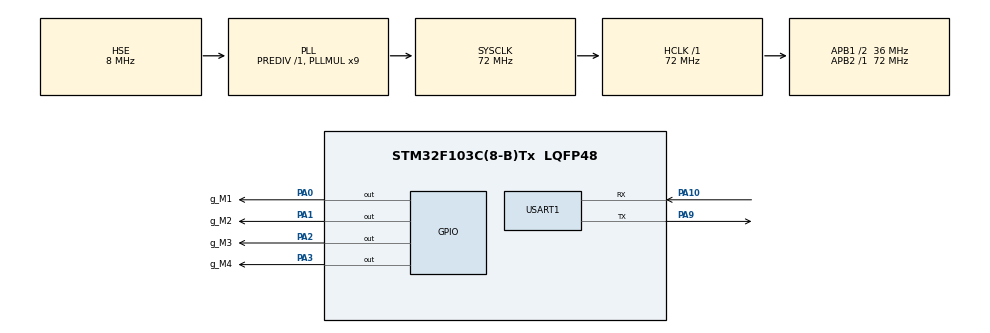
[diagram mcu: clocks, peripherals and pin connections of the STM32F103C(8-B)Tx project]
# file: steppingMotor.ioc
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Dma.Request0=USART1_RX
Dma.Request1=USART1_TX
Dma.USART1_RX.0.Direction=DMA_PERIPH_TO_MEMORY
Dma.USART1_RX.0.Instance=DMA1_Channel5
Dma.USART1_RX.0.MemDataAlignment=DMA_MDATAALIGN_BYTE
Dma.USART1_RX.0.MemInc=DMA_MINC_ENABLE
Dma.USART1_RX.0.Mode=DMA_NORMAL
Dma.USART1_RX.0.PeriphDataAlignment=DMA_PDATAALIGN_BYTE
Dma.USART1_RX.0.PeriphInc=DMA_PINC_DISABLE
Dma.USART1_RX.0.Priority=DMA_PRIORITY_LOW
Dma.USART1_TX.1.Direction=DMA_MEMORY_TO_PERIPH
Dma.USART1_TX.1.Instance=DMA1_Channel4
Dma.USART1_TX.1.MemDataAlignment=DMA_MDATAALIGN_BYTE
Dma.USART1_TX.1.MemInc=DMA_MINC_ENABLE
Dma.USART1_TX.1.Mode=DMA_NORMAL
Dma.USART1_TX.1.PeriphDataAlignment=DMA_PDATAALIGN_BYTE
Dma.USART1_TX.1.PeriphInc=DMA_PINC_DISABLE
Dma.USART1_TX.1.Priority=DMA_PRIORITY_LOW
Mcu.Family=STM32F1
Mcu.Name=STM32F103C(8-B)Tx
Mcu.Package=LQFP48
NVIC.DMA1_Channel4_IRQn=true\:0\:0\:false\:false\:true\:false\:true
NVIC.DMA1_Channel5_IRQn=true\:0\:0\:false\:false\:true\:false\:true
NVIC.PriorityGroup=NVIC_PRIORITYGROUP_4
NVIC.TIM2_IRQn=true\:0\:0\:false\:false\:true\:true\:true
NVIC.USART1_IRQn=true\:0\:0\:false\:false\:true\:true\:true
PA0-WKUP.GPIO_Label=g_M1
PA0-WKUP.Signal=GPIO_Output
PA1.GPIO_Label=g_M2
PA1.Signal=GPIO_Output
PA10.Mode=Asynchronous
PA10.Signal=USART1_RX
PA13.Mode=Serial_Wire
PA13.Signal=SYS_JTMS-SWDIO
PA14.Mode=Serial_Wire
PA14.Signal=SYS_JTCK-SWCLK
PA2.GPIO_Label=g_M3
PA2.Signal=GPIO_Output
PA3.GPIO_Label=g_M4
PA3.Signal=GPIO_Output
PA9.Mode=Asynchronous
PA9.Signal=USART1_TX
PD0-OSC_IN.Mode=HSE-External-Oscillator
PD0-OSC_IN.Signal=RCC_OSC_IN
PD1-OSC_OUT.Mode=HSE-External-Oscillator
PD1-OSC_OUT.Signal=RCC_OSC_OUT
ProjectManager.HeapSize=0x200
ProjectManager.StackSize=0x400
ProjectManager.TargetToolchain=MDK-ARM V5.32
RCC.AHBFreq_Value=72000000
RCC.APB1CLKDivider=RCC_HCLK_DIV2
RCC.APB1Freq_Value=36000000
RCC.APB1TimFreq_Value=72000000
RCC.APB2Freq_Value=72000000
RCC.APB2TimFreq_Value=72000000
RCC.HCLKFreq_Value=72000000
RCC.PLLMUL=RCC_PLL_MUL9
RCC.PLLSourceVirtual=RCC_PLLSOURCE_HSE
RCC.SYSCLKFreq_VALUE=72000000
RCC.SYSCLKSource=RCC_SYSCLKSOURCE_PLLCLK
RCC.USBFreq_Value=72000000
TIM2.Period=1000-1
TIM2.Prescaler=72-1
USART1.VirtualMode=VM_ASYNC
VP_TIM2_VS_ClockSourceINT.Mode=Internal
board=custom

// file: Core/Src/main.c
/* USER CODE BEGIN Header */
/**
  ******************************************************************************
  * @file           : main.c
  * @brief          : Main program body
  ******************************************************************************
  * @attention
  *
  * Copyright (c) 2025 STMicroelectronics.
  * All rights reserved.
  *
  * This software is licensed under terms that can be found in the LICENSE file
  * in the root directory of this software component.
  * If no LICENSE file comes with this software, it is provided AS-IS.
  *
  ******************************************************************************
  */
/* USER CODE END Header */
#include "main.h"
#include "dma.h"
#include "tim.h"
#include "usart.h"
#include "gpio.h"

/* USER CODE BEGIN Includes */
#include "hal_steppingMotor.h"
#include "pid_controller.h"
/* USER CODE END Includes */

/* USER CODE BEGIN PTD */
typedef struct
{
  uint8_t buffer[32];
  uint16_t size;
  uint16_t recv_length;
  uint8_t flag;
} UART_RxData_t;
/* USER CODE END PTD */

/* USER CODE BEGIN PD */
#define RX_BUFFER_SIZE 32
/* USER CODE END PD */

/* USER CODE BEGIN PV */
UART_RxData_t uart_rx_data;
extern  DMA_HandleTypeDef hdma_usart1_rx;
extern  DMA_HandleTypeDef hdma_usart1_tx;
/* USER CODE END PV */

void SystemClock_Config(void);

/* USER CODE BEGIN 0 */
void HAL_UARTEx_RxEventCallback(UART_HandleTypeDef *huart, uint16_t Size)
{
  if (huart->Instance == USART1)
  {
    uart_rx_data.recv_length = Size;
    uart_rx_data.flag = 1;
    // Restart DMA reception
    HAL_UARTEx_ReceiveToIdle_DMA(&huart1, uart_rx_data.buffer,RX_BUFFER_SIZE);
    __HAL_DMA_ENABLE_IT(&hdma_usart1_rx,DMA_IT_TC);
  }
}
/* USER CODE END 0 */

int main(void)
{

  /* MCU Configuration--------------------------------------------------------*/

  /* Reset of all peripherals, Initializes the Flash interface and the Systick. */
  HAL_Init();

  /* Configure the system clock */
  SystemClock_Config();

  /* Initialize all configured peripherals */
  MX_GPIO_Init();
  MX_DMA_Init();
  MX_TIM2_Init();
  MX_USART1_UART_Init();
  /* USER CODE BEGIN 2 */
  __HAL_DMA_ENABLE_IT(&hdma_usart1_rx,DMA_IT_TC);
  HAL_UARTEx_ReceiveToIdle_DMA(&huart1, uart_rx_data.buffer,RX_BUFFER_SIZE);

  hal_steppingMotor_init();
  /* USER CODE END 2 */

  /* Infinite loop */
  /* USER CODE BEGIN WHILE */
  while (1)
  {
    if (uart_rx_data.flag)
    {
      float speed = 0.0f;
      if (sscanf((char*)uart_rx_data.buffer, "s%f", &speed) == 1)
      {
        hal_steppingMotor_set_target_speed(speed);
      }
      // Clear buffer and reset flag
      memset(uart_rx_data.buffer, 0, uart_rx_data.recv_length);
      uart_rx_data.recv_length = 0;
      uart_rx_data.flag = 0;
    }
    /* USER CODE END WHILE */

  }
}

void SystemClock_Config(void)
{
  RCC_OscInitTypeDef RCC_OscInitStruct = {0};
  RCC_ClkInitTypeDef RCC_ClkInitStruct = {0};

  /** Initializes the RCC Oscillators according to the specified parameters
  * in the RCC_OscInitTypeDef structure.
  */
  RCC_OscInitStruct.OscillatorType = RCC_OSCILLATORTYPE_HSE;
  RCC_OscInitStruct.HSEState = RCC_HSE_ON;
  RCC_OscInitStruct.HSEPredivValue = RCC_HSE_PREDIV_DIV1;
  RCC_OscInitStruct.HSIState = RCC_HSI_ON;
  RCC_OscInitStruct.PLL.PLLState = RCC_PLL_ON;
  RCC_OscInitStruct.PLL.PLLSource = RCC_PLLSOURCE_HSE;
  RCC_OscInitStruct.PLL.PLLMUL = RCC_PLL_MUL9;
  if (HAL_RCC_OscConfig(&RCC_OscInitStruct) != HAL_OK)
  {
    Error_Handler();
  }
  /** Initializes the CPU, AHB and APB buses clocks
  */
  RCC_ClkInitStruct.ClockType = RCC_CLOCKTYPE_HCLK|RCC_CLOCKTYPE_SYSCLK
                              |RCC_CLOCKTYPE_PCLK1|RCC_CLOCKTYPE_PCLK2;
  RCC_ClkInitStruct.SYSCLKSource = RCC_SYSCLKSOURCE_PLLCLK;
  RCC_ClkInitStruct.AHBCLKDivider = RCC_SYSCLK_DIV1;
  RCC_ClkInitStruct.APB1CLKDivider = RCC_HCLK_DIV2;
  RCC_ClkInitStruct.APB2CLKDivider = RCC_HCLK_DIV1;

  if (HAL_RCC_ClockConfig(&RCC_ClkInitStruct, FLASH_LATENCY_2) != HAL_OK)
  {
    Error_Handler();
  }
}

void Error_Handler(void)
{
  __disable_irq();
  while (1)
  {
  }
}
